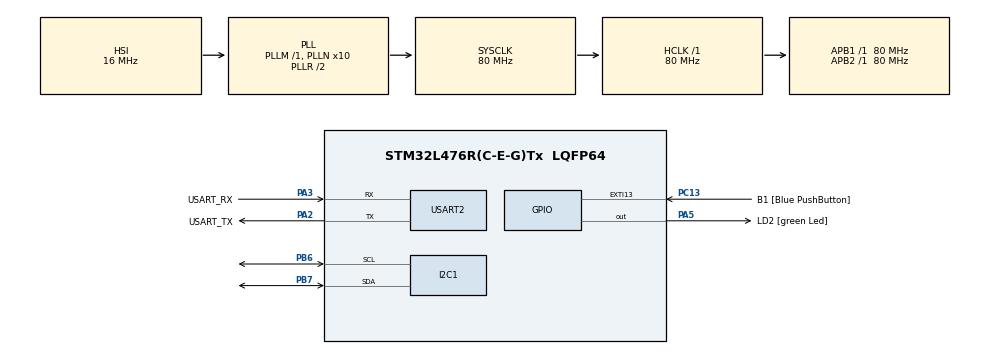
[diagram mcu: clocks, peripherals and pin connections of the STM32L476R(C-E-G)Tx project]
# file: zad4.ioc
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I2C1.Timing=0x10D19CE4
Mcu.Family=STM32L4
Mcu.Name=STM32L476R(C-E-G)Tx
Mcu.Package=LQFP64
NVIC.PriorityGroup=NVIC_PRIORITYGROUP_4
PA13\ (JTMS-SWDIO).GPIO_Label=TMS
PA13\ (JTMS-SWDIO).Mode=Serial_Wire
PA13\ (JTMS-SWDIO).Signal=SYS_JTMS-SWDIO
PA14\ (JTCK-SWCLK).GPIO_Label=TCK
PA14\ (JTCK-SWCLK).Mode=Serial_Wire
PA14\ (JTCK-SWCLK).Signal=SYS_JTCK-SWCLK
PA2.GPIO_Label=USART_TX
PA2.GPIO_Mode=GPIO_MODE_AF_PP
PA2.GPIO_PuPd=GPIO_NOPULL
PA2.GPIO_Speed=GPIO_SPEED_FREQ_VERY_HIGH
PA2.Mode=Asynchronous
PA2.Signal=USART2_TX
PA3.GPIO_Label=USART_RX
PA3.GPIO_Mode=GPIO_MODE_AF_PP
PA3.GPIO_PuPd=GPIO_NOPULL
PA3.GPIO_Speed=GPIO_SPEED_FREQ_VERY_HIGH
PA3.Mode=Asynchronous
PA3.Signal=USART2_RX
PA5.GPIO_Label=LD2 [green Led]
PA5.GPIO_ModeDefaultOutputPP=GPIO_MODE_OUTPUT_PP
PA5.GPIO_PuPd=GPIO_NOPULL
PA5.GPIO_Speed=GPIO_SPEED_FREQ_LOW
PA5.Signal=GPIO_Output
PB3\ (JTDO-TRACESWO).GPIO_Label=SWO
PB3\ (JTDO-TRACESWO).Signal=SYS_JTDO-SWO
PB6.Mode=I2C
PB6.Signal=I2C1_SCL
PB7.Mode=I2C
PB7.Signal=I2C1_SDA
PC13.GPIO_Label=B1 [Blue PushButton]
PC13.GPIO_ModeDefaultEXTI=GPIO_MODE_IT_FALLING
PC13.GPIO_PuPd=GPIO_NOPULL
PC13.Signal=GPXTI13
PC14-OSC32_IN\ (PC14).Mode=LSE-External-Oscillator
PC14-OSC32_IN\ (PC14).Signal=RCC_OSC32_IN
PC15-OSC32_OUT\ (PC15).Mode=LSE-External-Oscillator
PC15-OSC32_OUT\ (PC15).Signal=RCC_OSC32_OUT
PH0-OSC_IN\ (PH0).Signal=RCC_OSC_IN
PH1-OSC_OUT\ (PH1).Signal=RCC_OSC_OUT
ProjectManager.HeapSize=0x200
ProjectManager.StackSize=0x400
ProjectManager.TargetToolchain=STM32CubeIDE
RCC.ADCFreq_Value=64000000
RCC.AHBFreq_Value=80000000
RCC.APB1Freq_Value=80000000
RCC.APB1TimFreq_Value=80000000
RCC.APB2Freq_Value=80000000
RCC.APB2TimFreq_Value=80000000
RCC.CortexFreq_Value=80000000
RCC.HCLKFreq_Value=80000000
RCC.HSE_VALUE=8000000
RCC.HSI_VALUE=16000000
RCC.MSI_VALUE=4000000
RCC.PLLN=10
RCC.PLLSourceVirtual=RCC_PLLSOURCE_HSI
RCC.PREFETCH_ENABLE=1
RCC.SYSCLKFreq_VALUE=80000000
RCC.SYSCLKSource=RCC_SYSCLKSOURCE_PLLCLK
RCC.USBFreq_Value=64000000
RCC.VCOOutputFreq_Value=160000000
USART2.VirtualMode-Asynchronous=VM_ASYNC
board=NUCLEO-L476RG

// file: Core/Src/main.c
/* USER CODE BEGIN Header */
/**
  ******************************************************************************
  * @file           : main.c
  * @brief          : Main program body
  ******************************************************************************
  * @attention
  *
  * Copyright (c) 2025 STMicroelectronics.
  * All rights reserved.
  *
  * This software is licensed under terms that can be found in the LICENSE file
  * in the root directory of this software component.
  * If no LICENSE file comes with this software, it is provided AS-IS.
  *
  ******************************************************************************
  */
/* USER CODE END Header */
#include "main.h"
#include "i2c.h"
#include "usart.h"
#include "gpio.h"

/* USER CODE BEGIN Includes */
#include <stdio.h>
#include "BH1750.h"
/* USER CODE END Includes */

void SystemClock_Config(void);

/* USER CODE BEGIN 0 */
volatile uint32_t lux_millilux = 0;

int __io_putchar(int ch)
{
    uint8_t c = (uint8_t)ch;
    if(c == '\n')
    {
        uint8_t ret = '\r';
        HAL_UART_Transmit(&huart2, &ret, 1, HAL_MAX_DELAY);
    }
    HAL_UART_Transmit(&huart2, &c, 1, HAL_MAX_DELAY);
    return ch;
}
/* USER CODE END 0 */

int main(void)
{

  /* MCU Configuration--------------------------------------------------------*/

  /* Reset of all peripherals, Initializes the Flash interface and the Systick. */
  HAL_Init();

  /* Configure the system clock */
  SystemClock_Config();

  /* Initialize all configured peripherals */
  MX_GPIO_Init();
  MX_USART2_UART_Init();
  MX_I2C1_Init();
  /* USER CODE BEGIN 2 */
  init_bh1750_sensor(&hi2c1, MODE_CONT_HIGH_RES);
  HAL_Delay(120);

  float lux = 0;
  /* USER CODE END 2 */

  /* Infinite loop */
  /* USER CODE BEGIN WHILE */
  while (1)
  {
	char buf[50];
	lux = read_lux(&hi2c1);
	lux_millilux = (uint32_t)(lux * 1000.0f);
	sprintf(buf, "wynik: %.1f\n", lux);
	printf("%s", buf);
	HAL_Delay(200);
    /* USER CODE END WHILE */

  }
}

void SystemClock_Config(void)
{
  RCC_OscInitTypeDef RCC_OscInitStruct = {0};
  RCC_ClkInitTypeDef RCC_ClkInitStruct = {0};

  /** Configure the main internal regulator output voltage
  */
  if (HAL_PWREx_ControlVoltageScaling(PWR_REGULATOR_VOLTAGE_SCALE1) != HAL_OK)
  {
    Error_Handler();
  }

  /** Initializes the RCC Oscillators according to the specified parameters
  * in the RCC_OscInitTypeDef structure.
  */
  RCC_OscInitStruct.OscillatorType = RCC_OSCILLATORTYPE_HSI;
  RCC_OscInitStruct.HSIState = RCC_HSI_ON;
  RCC_OscInitStruct.HSICalibrationValue = RCC_HSICALIBRATION_DEFAULT;
  RCC_OscInitStruct.PLL.PLLState = RCC_PLL_ON;
  RCC_OscInitStruct.PLL.PLLSource = RCC_PLLSOURCE_HSI;
  RCC_OscInitStruct.PLL.PLLM = 1;
  RCC_OscInitStruct.PLL.PLLN = 10;
  RCC_OscInitStruct.PLL.PLLP = RCC_PLLP_DIV7;
  RCC_OscInitStruct.PLL.PLLQ = RCC_PLLQ_DIV2;
  RCC_OscInitStruct.PLL.PLLR = RCC_PLLR_DIV2;
  if (HAL_RCC_OscConfig(&RCC_OscInitStruct) != HAL_OK)
  {
    Error_Handler();
  }

  /** Initializes the CPU, AHB and APB buses clocks
  */
  RCC_ClkInitStruct.ClockType = RCC_CLOCKTYPE_HCLK|RCC_CLOCKTYPE_SYSCLK
                              |RCC_CLOCKTYPE_PCLK1|RCC_CLOCKTYPE_PCLK2;
  RCC_ClkInitStruct.SYSCLKSource = RCC_SYSCLKSOURCE_PLLCLK;
  RCC_ClkInitStruct.AHBCLKDivider = RCC_SYSCLK_DIV1;
  RCC_ClkInitStruct.APB1CLKDivider = RCC_HCLK_DIV1;
  RCC_ClkInitStruct.APB2CLKDivider = RCC_HCLK_DIV1;

  if (HAL_RCC_ClockConfig(&RCC_ClkInitStruct, FLASH_LATENCY_4) != HAL_OK)
  {
    Error_Handler();
  }
}

void Error_Handler(void)
{
  __disable_irq();
  while (1)
  {
  }
}
